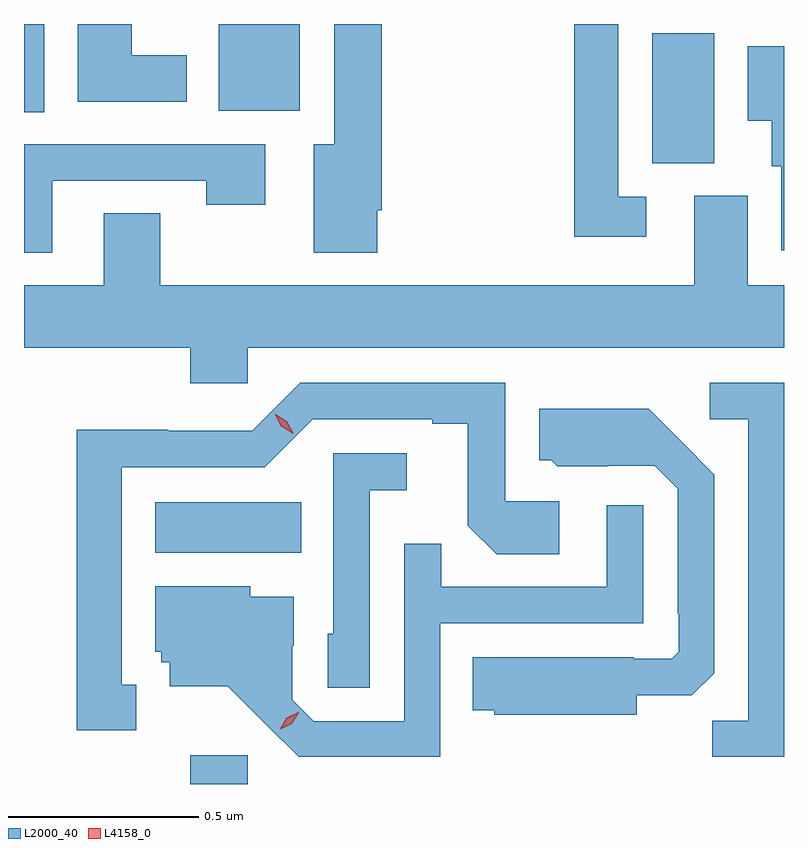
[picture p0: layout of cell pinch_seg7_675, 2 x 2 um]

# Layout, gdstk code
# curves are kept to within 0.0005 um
import gdstk
lib = gdstk.Library(unit=1e-6, precision=1e-09)
def R(c, l, rs):  # rectangles x0, y0, x1, y1
    for r in rs: c.add(gdstk.rectangle(r[:2], r[2:], *l))
def P(c, l, *ps):  # polygons
    for p in ps: c.add(gdstk.Polygon(p, *l))
L2000_40 = (2000, 40)
L4158_0 = (4158, 0)

pinch_seg7_675 = lib.new_cell('pinch_seg7_675')
R(pinch_seg7_675, L2000_40, [(143.237,1020.78,143.388,1020.856), (143.144,1021.388,143.528,1021.522), (144.452,1022.413,144.616,1022.756), (142.799,1022.548,142.852,1022.78), (143.312,1022.552,143.524,1022.78)])
P(pinch_seg7_675, L2000_40, [(144.436,1022.325),(144.363,1022.325),(144.363,1022.78),(144.247,1022.78),(144.247,1022.22),(144.436,1022.22)],
  [(143.227,1022.698),(143.083,1022.698),(143.083,1022.78),(142.94,1022.78),(142.94,1022.576),(143.227,1022.576)],
  [(143.728,1022.29),(143.741,1022.29),(143.741,1022.78),(143.615,1022.78),(143.615,1022.464),(143.561,1022.464),(143.561,1022.178),(143.728,1022.178)],
  [(144.799,1022.722),(144.704,1022.722),(144.704,1022.525),(144.767,1022.525),(144.767,1022.406),(144.792,1022.406),(144.792,1022.184),(144.799,1022.184)],
  [(142.873,1022.367),(143.278,1022.367),(143.278,1022.304),(143.434,1022.304),(143.434,1022.463),(142.799,1022.463),(142.799,1022.178),(142.873,1022.178)],
  [(143.388,1021.928),(144.799,1021.928),(144.799,1022.092),(144.703,1022.092),(144.703,1022.328),(144.563,1022.328),(144.563,1022.092),(143.157,1022.092),(143.157,1022.282),(143.009,1022.282),(143.009,1022.092),(142.799,1022.092),(142.799,1021.928),(143.237,1021.928),(143.237,1021.835),(143.388,1021.835)],
  [(144.799,1021.836),(144.603,1021.836),(144.603,1021.74),(144.705,1021.74),(144.705,1020.947),(144.61,1020.947),(144.61,1020.852),(144.799,1020.852)],
  [(143.095,1021.041),(143.056,1021.041),(143.056,1021.614),(143.433,1021.614),(143.559,1021.74),(143.873,1021.74),(143.873,1021.728),(143.967,1021.728),(143.967,1021.46),(144.043,1021.384),(144.208,1021.384),(144.208,1021.524),(144.066,1021.524),(144.066,1021.836),(143.526,1021.836),(143.4,1021.71),(143.178,1021.71),(143.178,1021.712),(142.938,1021.712),(142.938,1020.921),(143.095,1020.921)],
  [(144.412,1021.013),(144.556,1021.013),(144.615,1021.072),(144.615,1021.594),(144.443,1021.768),(144.155,1021.768),(144.155,1021.632),(144.186,1021.632),(144.202,1021.616),(144.336,1021.616),(144.336,1021.617),(144.459,1021.617),(144.519,1021.557),(144.519,1021.228),(144.522,1021.228),(144.522,1021.128),(144.504,1021.11),(144.404,1021.11),(144.404,1021.114),(143.98,1021.114),(143.98,1020.974),(144.036,1020.974),(144.036,1020.962),(144.412,1020.962)],
  [(143.709,1021.553),(143.806,1021.553),(143.806,1021.65),(143.613,1021.65),(143.613,1021.176),(143.598,1021.176),(143.598,1021.033),(143.709,1021.033)],
  [(143.895,1021.203),(144.429,1021.203),(144.429,1021.513),(144.333,1021.513),(144.333,1021.299),(143.897,1021.299),(143.897,1021.412),(143.799,1021.412),(143.799,1020.945),(143.562,1020.945),(143.505,1021.002),(143.505,1021.144),(143.509,1021.144),(143.509,1021.273),(143.394,1021.273),(143.394,1021.3),(143.144,1021.3),(143.144,1021.128),(143.16,1021.128),(143.16,1021.101),(143.183,1021.101),(143.183,1021.037),(143.335,1021.037),(143.522,1020.852),(143.895,1020.852)])
P(pinch_seg7_675, L4158_0, [(143.473,1020.924),(143.473,1020.925),(143.491,1020.954),(143.521,1020.969),(143.522,1020.969),(143.522,1020.968),(143.504,1020.939),(143.473,1020.924)],
  [(143.508,1021.702),(143.476,1021.721),(143.459,1021.754),(143.459,1021.754),(143.459,1021.754),(143.491,1021.735),(143.508,1021.703),(143.508,1021.702)])

lib.write_gds('pinch_seg7_675.gds')
